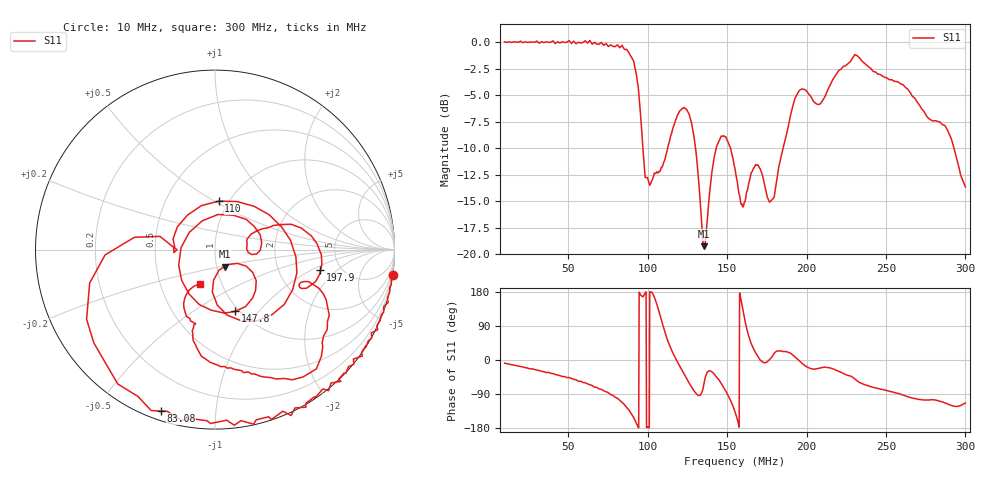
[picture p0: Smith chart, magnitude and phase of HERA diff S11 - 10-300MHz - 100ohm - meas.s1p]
# MHZ S MA R 100
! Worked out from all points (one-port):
!   1001 points, 10 MHz to 300 MHz, reference 100 ohm
!   lowest |S11| = -19.2 dB at 135.6 MHz (marker M1), VSWR 1.25, Z = 109 - j21.1 ohm
!   |S11| at or under -10 dB: 96.99 MHz to 112.6 MHz (15.64 MHz wide, 14.9 % of centre); 130.2 MHz to 143.2 MHz (13.02 MHz wide, 9.52 % of centre); 152.2 MHz to 185.3 MHz (33.07 MHz wide, 19.6 % of centre)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
!   S11 on the Smith chart (normalised r, x): 10 MHz: -0, -14; 83.08 MHz: 0.04, -0.72; 110 MHz: 0.90, +0.52; 147.8 MHz: 0.96, -0.76; 197.9 MHz: 3.50, -1.26; 300 MHz: 0.79, -0.31
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10  1.001 -8.2
46.25  1.003 -43.4
63.94  1.009 -65.7
82.5  0.9396 -106.5
83.08  0.9487 -108.6
91.78  0.7724 -156.5
95.55  0.4544 171.3
99.61  0.2296 -177.3
105.41  0.2425 152.1
110.05  0.2709 85.6
118.75  0.4522 -5.0
126.58  0.4434 -63.6
131.22  0.2653 -90.8
135.57  0.1092 -60.8
141.95  0.2876 -37.0
147.75  0.3621 -71.8
155  0.2534 -137.0
162.25  0.1962 85.1
168.34  0.2639 16.4
178.2  0.1804 7.8
191.25  0.4952 14.0
197.92  0.5989 -11.1
213.58  0.5988 -20.0
227.5  0.8072 -41.9
234.17  0.8263 -60.7
263.75  0.5993 -97.2
288.11  0.3923 -114.6
300  0.2076 -113.6
